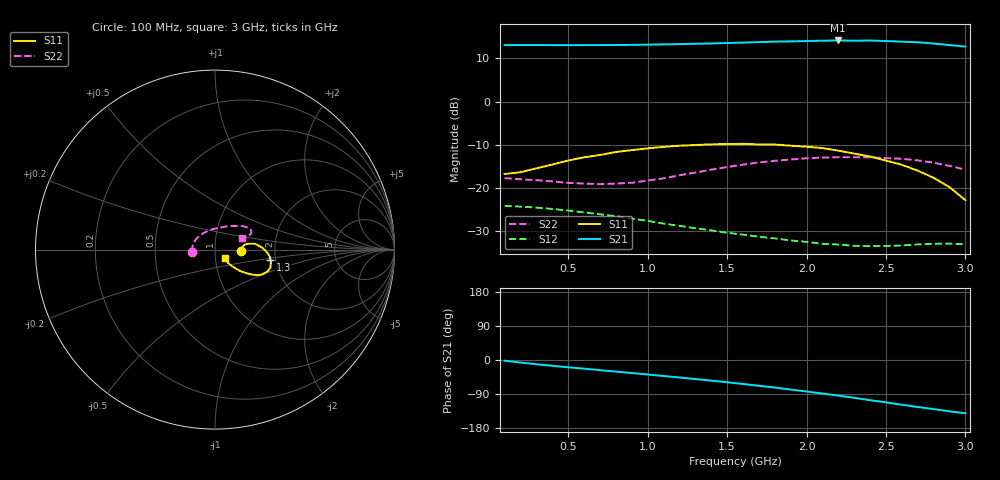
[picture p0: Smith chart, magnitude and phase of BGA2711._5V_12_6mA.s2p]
! Bias: Vs=5 V; Is=12.6 mA
#  MHz  S  MA  R 50
! Freq  S11  S21  S12  S22
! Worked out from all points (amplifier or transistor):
!   30 points, 100 MHz to 3 GHz, reference 50 ohm
!   highest |S21| = 14.1 dB at 2.2 GHz (marker M1)
!   |S21| within 3 dB of that: start of sweep to end of sweep
!   unconditionally stable (mu >= 1): start of sweep to end of sweep
!   at 600 MHz: K = 2.13, MAG = 13.3 dB, |S12| = -25.6 dB
!   at 1.6 GHz: K = 3.20, MAG = 14.2 dB, |S12| = -30.7 dB
!   at 3 GHz: K = 5.06, MAG = 12.8 dB, |S12| = -33.0 dB
!   S11 on the Smith chart (normalised r, x): 100 MHz: 1.34, -0.02; 1.3 GHz: 1.87, -0.24; 3 GHz: 1.11, -0.11
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100  0.1456 -3.5  4.487 -1.8  0.06221 -2.9  0.1303 -174.5
200  0.1525 5.6  4.494 -6.8  0.06118 -8.1  0.1264 169.6
300  0.1691 9.3  4.494 -11.2  0.05956 -12.4  0.1234 158.5
500  0.2082 9.0  4.477 -19.2  0.05509 -20.0  0.115 137.7
600  0.227 8.2  4.486 -22.9  0.05241 -22.9  0.1129 126.6
800  0.2612 2.6  4.499 -30.6  0.04745 -27.7  0.1129 104.2
1100  0.2993 -5.3  4.57 -42.2  0.03891 -32.3  0.1296 73.0
1300  0.3142 -10.5  4.646 -50.3  0.03441 -33.0  0.1512 59.2
1500  0.3223 -16.0  4.742 -58.7  0.0305 -32.5  0.1748 49.0
1600  0.3249 -17.9  4.793 -63.3  0.02904 -32.4  0.1869 45.1
1800  0.3185 -22.4  4.922 -72.7  0.02625 -29.2  0.2066 38.9
2000  0.3009 -26.8  4.997 -83.1  0.02396 -26.6  0.2209 33.7
2100  0.29 -29.2  5.043 -88.5  0.02273 -25.2  0.2251 31.4
2200  0.2711 -31.6  5.076 -94.0  0.02228 -22.2  0.2275 29.7
2300  0.2505 -33.8  5.045 -99.8  0.02155 -19.9  0.2278 27.8
2400  0.2316 -35.8  5.067 -106.1  0.02135 -17.9  0.2268 26.6
2500  0.2079 -38.0  5 -111.7  0.02145 -15.8  0.2224 25.0
2600  0.1859 -40.4  4.914 -118.1  0.02177 -13.9  0.2181 23.9
2700  0.1588 -42.0  4.84 -124.1  0.02235 -13.6  0.209 22.8
2800  0.1316 -44.3  4.68 -129.6  0.02276 -12.7  0.1966 22.1
2900  0.1026 -45.8  4.488 -135.6  0.02286 -14.8  0.1808 21.6
3000  0.07266 -41.7  4.314 -140.5  0.02241 -17.1  0.1636 22.3
